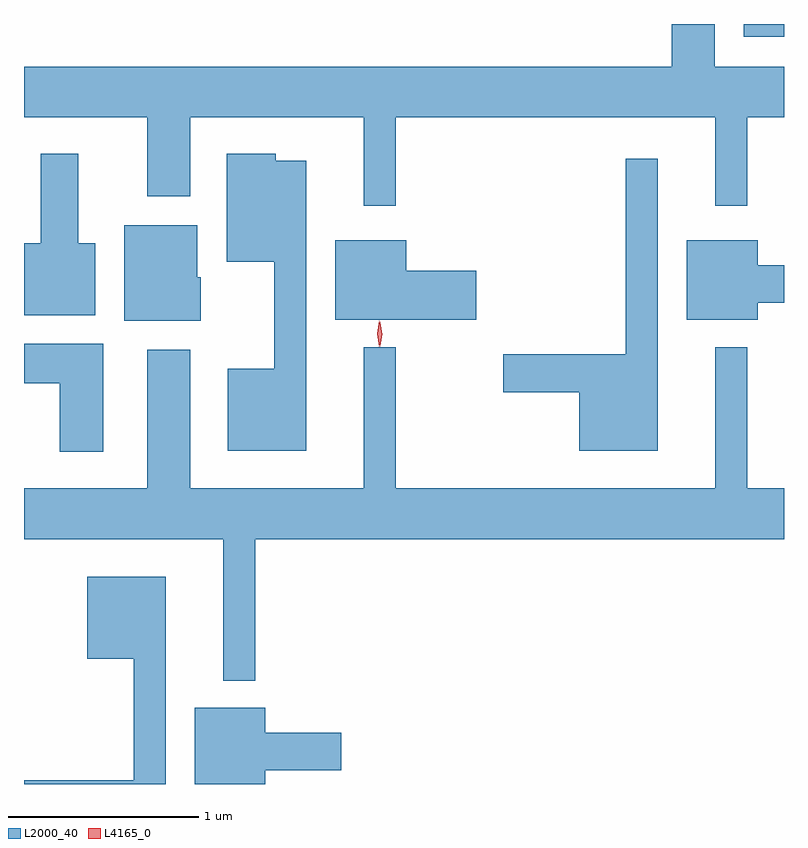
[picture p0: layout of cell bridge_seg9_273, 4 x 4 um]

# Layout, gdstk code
import gdstk
lib = gdstk.Library(unit=1e-6, precision=1e-09)
def R(c, l, rs):  # rectangles x0, y0, x1, y1
    for r in rs: c.add(gdstk.rectangle(r[:2], r[2:], *l))
def P(c, l, *ps):  # polygons
    for p in ps: c.add(gdstk.Polygon(p, *l))
L2000_40 = (2000, 40)
L4165_0 = (4165, 0)

bridge_seg9_273 = lib.new_cell('bridge_seg9_273')
R(bridge_seg9_273, L2000_40, [(968.371,2054.401,968.583,2054.468)])
P(bridge_seg9_273, L2000_40, [(966.539,2053.976),(968.221,2053.976),(968.221,2053.512),(968.389,2053.512),(968.389,2053.976),(968.583,2053.976),(968.583,2054.244),(968.219,2054.244),(968.219,2054.468),(967.991,2054.468),(967.991,2054.244),(964.583,2054.244),(964.583,2053.976),(965.231,2053.976),(965.231,2053.561),(965.459,2053.561),(965.459,2053.976),(966.371,2053.976),(966.371,2053.512),(966.539,2053.512)],
  [(964.959,2053.314),(964.869,2053.314),(964.869,2053.784),(964.671,2053.784),(964.671,2053.314),(964.583,2053.314),(964.583,2052.936),(964.959,2052.936)],
  [(966.069,2053.749),(965.909,2053.749),(965.909,2053.784),(965.651,2053.784),(965.651,2053.216),(965.901,2053.216),(965.901,2052.654),(965.656,2052.654),(965.656,2052.221),(966.069,2052.221)],
  [(967.919,2053.758),(967.751,2053.758),(967.751,2052.729),(967.106,2052.729),(967.106,2052.531),(967.506,2052.531),(967.506,2052.221),(967.919,2052.221)],
  [(965.514,2053.134),(965.494,2053.134),(965.494,2053.409),(965.111,2053.409),(965.111,2052.906),(965.514,2052.906)],
  [(966.964,2053.169),(966.594,2053.169),(966.594,2053.329),(966.221,2053.329),(966.221,2052.911),(966.964,2052.911)],
  [(968.444,2053.001),(968.583,2053.001),(968.583,2053.199),(968.444,2053.199),(968.444,2053.329),(968.071,2053.329),(968.071,2052.911),(968.444,2052.911)],
  [(964.999,2052.784),(964.583,2052.784),(964.583,2052.576),(964.771,2052.576),(964.771,2052.216),(964.999,2052.216)],
  [(965.799,2051.756),(968.583,2051.756),(968.583,2052.024),(968.389,2052.024),(968.389,2052.768),(968.221,2052.768),(968.221,2052.024),(966.539,2052.024),(966.539,2052.768),(966.371,2052.768),(966.371,2052.024),(965.459,2052.024),(965.459,2052.754),(965.231,2052.754),(965.231,2052.024),(964.583,2052.024),(964.583,2051.756),(965.631,2051.756),(965.631,2051.012),(965.799,2051.012)],
  [(965.329,2051.559),(964.916,2051.559),(964.916,2051.126),(965.161,2051.126),(965.161,2050.489),(964.583,2050.489),(964.583,2050.468),(965.329,2050.468)],
  [(965.854,2050.541),(966.254,2050.541),(966.254,2050.739),(965.854,2050.739),(965.854,2050.869),(965.481,2050.869),(965.481,2050.468),(965.854,2050.468)])
P(bridge_seg9_273, L4165_0, [(966.452,2052.77),(966.443,2052.838),(966.452,2052.905),(966.452,2052.906),(966.453,2052.905),(966.462,2052.838),(966.454,2052.77),(966.453,2052.77)],
  [(966.458,2052.773),(966.458,2052.774),(966.448,2052.836),(966.458,2052.899),(966.458,2052.9),(966.459,2052.899),(966.468,2052.836),(966.459,2052.774)])

lib.write_gds('bridge_seg9_273.gds')
